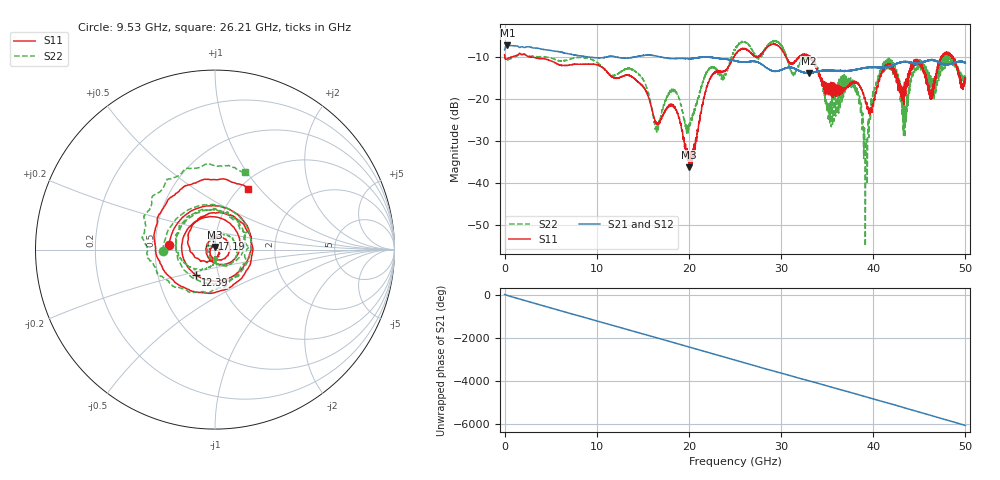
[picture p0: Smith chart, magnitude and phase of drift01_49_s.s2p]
!Created with skrf (http://scikit-rf.org).
# Hz S RI R 50.0
!freq ReS11 ImS11 ReS21 ImS21 ReS12 ImS12 ReS22 ImS22
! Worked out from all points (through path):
!   10001 points, 300 kHz to 50 GHz, reference 50 ohm
!   highest |S21| = -7.34 dB at 310.3 MHz (marker M1); lowest = -14.0 dB at 33.02 GHz (marker M2)
!   group delay of S21, straight-line fit = 335 ps
!   lowest |S11| = -36.2 dB at 20.01 GHz (marker M3), VSWR 1.03, Z = 49.8 + j1.53 ohm
!   |S11| at or under -10 dB: 2.566 GHz to 24.92 GHz (22.35 GHz wide, 163 % of centre); 30.5 GHz to 32.01 GHz (1.512 GHz wide, 4.84 % of centre); 33.05 GHz to 47.42 GHz (14.36 GHz wide, 35.7 % of centre) (the widest 3 of 28)
!   |S22| runs from -55.0 to -6.2 dB; largest |S21 - S12| = 0.0094
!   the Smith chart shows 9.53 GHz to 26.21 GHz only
!   S11 on the Smith chart (normalised r, x): 9.53 GHz: 0.59, +0.03; 12.39 GHz: 0.78, -0.23; 17.19 GHz: 0.97, +0.12; 26.21 GHz: 1.09, +0.87
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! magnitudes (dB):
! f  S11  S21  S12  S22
! 300 kHz  -9.5  -8.4  -8.5  -9.5
! 310.3 MHz  -10.5  -7.3  -7.3  -10.9
! 8.335 GHz  -11.8  -9.9  -9.9  -10.2
! 9.53 GHz  -11.8  -10.2  -10.2  -10.8
! 12.39 GHz  -15.0  -10.2  -10.2  -13.9
! 16.67 GHz  -26.1  -10.0  -10.0  -27.3
! 17.19 GHz  -24.0  -10.2  -10.2  -22.2
! 20.01 GHz  -36.2  -10.5  -10.5  -26.4
! 22.26 GHz  -15.3  -10.2  -10.2  -12.8
! 25 GHz  -9.6  -11.0  -11.0  -8.4
! 26.21 GHz  -8.3  -11.3  -11.3  -6.7
! 33.02 GHz  -10.0  -14.0  -13.9  -10.0
! 33.34 GHz  -10.8  -13.8  -13.8  -10.4
! 35.22 GHz  -16.9  -13.4  -13.4  -21.5
! 37.98 GHz  -16.0  -13.2  -13.2  -16.9
! 39.17 GHz  -20.7  -12.6  -12.7  -39.3
! 40.16 GHz  -20.3  -12.6  -12.5  -17.4
! 41.67 GHz  -12.3  -12.4  -12.4  -11.4
! 43.37 GHz  -19.2  -11.2  -11.3  -22.5
! 44.88 GHz  -11.2  -11.6  -11.6  -11.3
! 46.23 GHz  -19.6  -10.8  -10.9  -14.6
! 50 GHz  -15.4  -11.5  -11.4  -15.1
